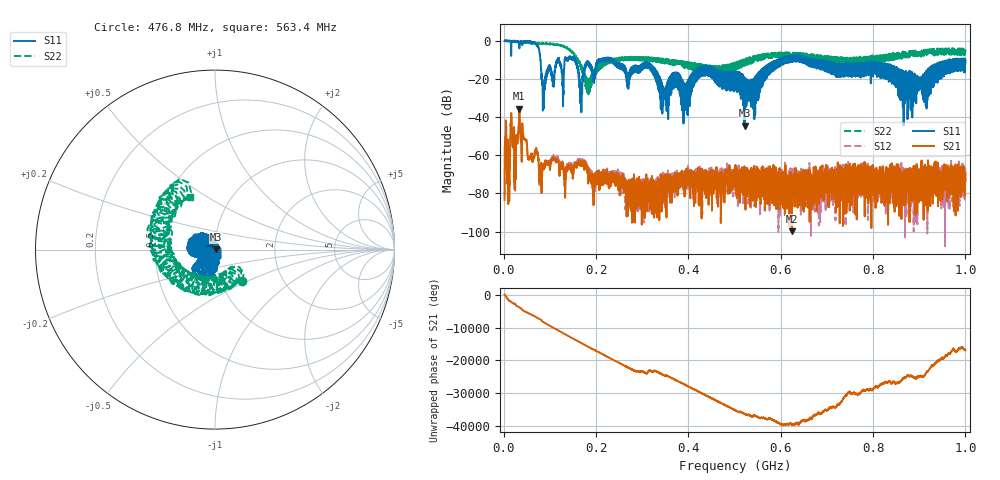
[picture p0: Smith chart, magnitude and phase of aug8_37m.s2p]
!Keysight Technologies N9923A: A.12.45
!Date: Friday, 08 August 2025 17:57:57
!Timezone: (UTC+08:00) Kuala Lumpur, Singapore
!Model: N9923A
!Serial: MY61181427
!GPS Latitude:
!GPS Longitude:
!GPS TimeStamp: 0001-01-01 00:00:00Z
!GPS Seconds Since Last Read: 0
!CHECKSUM:0785157387
!Correction: S11(ON U)S21(ON U)S12(ON U)S22(ON U)
!S2P File: Measurements:S11,S21,S12,S22:
# Hz S DB R 50
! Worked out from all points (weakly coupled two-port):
!   4001 points, 2 MHz to 1 GHz, reference 50 ohm
!   highest |S21| = -35.62 dB at 33.94 MHz (marker M1); lowest = -99.8 dB at 624.3 MHz (marker M2)
!   lowest |S11| = -44.6 dB at 522.2 MHz (marker M3), VSWR 1.01, Z = 50.6 + j0.124 ohm
!   |S11| at or under -10 dB: 155.2 MHz to 205.8 MHz (50.62 MHz wide, 28 % of centre); 236.1 MHz to 594.5 MHz (358.4 MHz wide, 86.3 % of centre); 684.1 MHz to 964.1 MHz (279.9 MHz wide, 34 % of centre) (the widest 3 of 103)
!   |S22| runs from -28.2 to 0.1 dB; largest |S21 - S12| = 0.0012
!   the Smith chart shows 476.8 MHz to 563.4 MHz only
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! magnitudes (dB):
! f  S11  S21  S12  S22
! 2 MHz  -0.1  -83.4  -81.3  0.0
! 17.72 MHz  -0.5  -49.2  -49.3  -0.5
! 25.45 MHz  -0.3  -55.5  -55.6  -0.5
! 33.94 MHz  -4.0  -35.6  -35.6  -0.9
! 70.86 MHz  -2.0  -56.6  -56.1  -1.2
! 81.09 MHz  -15.4  -66.7  -66.3  -1.4
! 87.08 MHz  -31.3  -64.9  -65.3  -1.5
! 148.5 MHz  -8.6  -69.7  -66.9  -6.3
! 168.4 MHz  -35.7  -64.6  -63.4  -14.1
! 183.6 MHz  -11.3  -71.7  -68.9  -28.1
! 222.6 MHz  -9.0  -71.9  -70.1  -10.9
! 334.8 MHz  -19.0  -76.9  -75.0  -11.4
! 348.3 MHz  -30.3  -79.1  -69.6  -11.9
! 394.2 MHz  -34.3  -76.2  -73.6  -11.7
! 430.1 MHz  -13.5  -69.3  -90.9  -13.6
! 501 MHz  -16.2  -70.9  -73.7  -15.8
! 522.2 MHz  -44.6  -80.6  -73.6  -9.7
! 624.3 MHz  -10.8  -99.8  -70.4  -8.3
! 667.4 MHz  -10.1  -75.2  -72.5  -8.3
! 833.8 MHz  -19.0  -79.7  -69.2  -8.0
! 906.2 MHz  -22.1  -63.2  -71.5  -6.5
! 1 GHz  -11.3  -69.7  -70.6  -6.2
